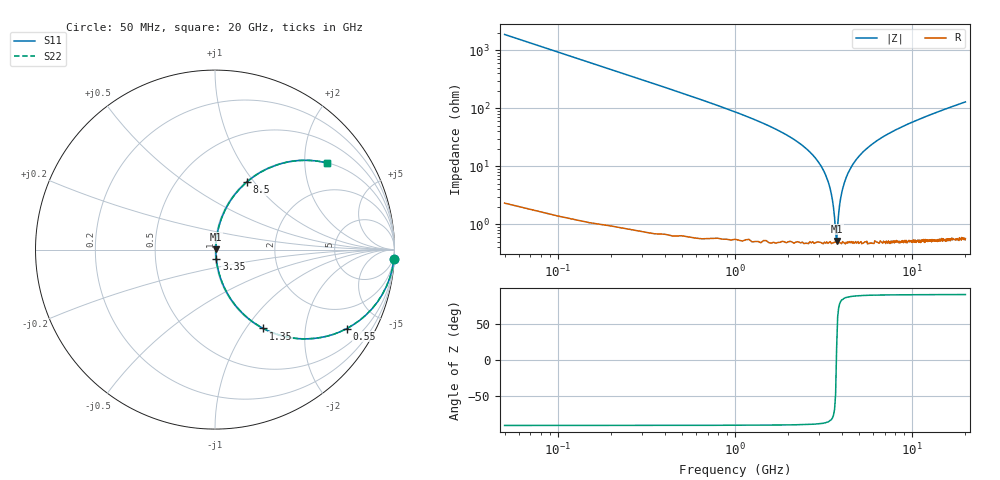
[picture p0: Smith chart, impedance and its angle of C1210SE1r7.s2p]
! AVX Thin Film Operation		Date: April 2012
! Description: Accu-P® Series, Thin Film, SMD, RF Capacitor
! Part Number: 12101J1R7PBTTR
!	100	MHz	-	20.05	GHz
!	Serial	Measurements
#	MHZ	S	MA	R	50
!	S11	S21	S12	S22
!	dB	Phase	dB	Phase	dB	Phase	dB	Phase
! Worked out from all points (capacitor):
!   400 points, 50 MHz to 20 GHz, reference 50 ohm
!   read as one part in series: C = 1.7 pF near 150 MHz
!   lowest |Z| = 514 mohm at 3.75 GHz (marker M1)
!   series resonance near 3.739 GHz, so ESL is about 1.1 nH
!   S11 on the Smith chart (normalised r, x): 50 MHz: 1, -37; 550 MHz: 1.01, -3.33; 1.35 GHz: 1.01, -1.21; 3.35 GHz: 1.01, -0.11; 8.5 GHz: 1.01, +0.92; 20 GHz: 1.01, +2.58
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50  0.999 -3.1  0.053 86.9  0.053 86.9  0.999 -3.1
100  0.994 -6.1  0.106 83.8  0.106 83.8  0.994 -6.1
200  0.977 -12.1  0.209 77.8  0.209 77.8  0.977 -12.1
350  0.935 -20.6  0.353 69.2  0.353 69.2  0.935 -20.6
550  0.856 -30.9  0.514 58.9  0.514 58.9  0.856 -30.9
850  0.72 -43.6  0.69 46.1  0.69 46.1  0.72 -43.6
1350  0.515 -58.6  0.853 31.0  0.853 31.0  0.515 -58.6
2700  0.163 -79.0  0.982 9.4  0.982 9.4  0.163 -79.0
3350  0.055 -81.9  0.994 3.1  0.994 3.1  0.055 -81.9
3400  0.048 -81.5  0.994 2.7  0.994 2.7  0.048 -81.5
3600  0.019 -74.7  0.995 1.1  0.995 1.1  0.019 -74.7
3750  0.005013 17.6  0.995 -0.1  0.995 -0.1  0.005013 17.6
3850  0.015 71.1  0.995 -0.8  0.995 -0.8  0.015 71.1
3950  0.028 78.6  0.995 -1.6  0.995 -1.6  0.028 78.6
4350  0.076 82.1  0.992 -4.3  0.992 -4.3  0.076 82.1
5300  0.175 78.4  0.98 -10.1  0.98 -10.1  0.175 78.4
6700  0.294 72.0  0.951 -17.1  0.951 -17.1  0.294 72.0
8500  0.416 64.8  0.905 -24.6  0.905 -24.6  0.416 64.8
10050  0.5 59.5  0.862 -30.0  0.862 -30.0  0.5 59.5
13350  0.634 50.3  0.769 -39.3  0.769 -39.3  0.634 50.3
16700  0.726 43.1  0.684 -46.6  0.684 -46.6  0.726 43.1
20000  0.789 37.6  0.611 -52.1  0.611 -52.1  0.789 37.6
